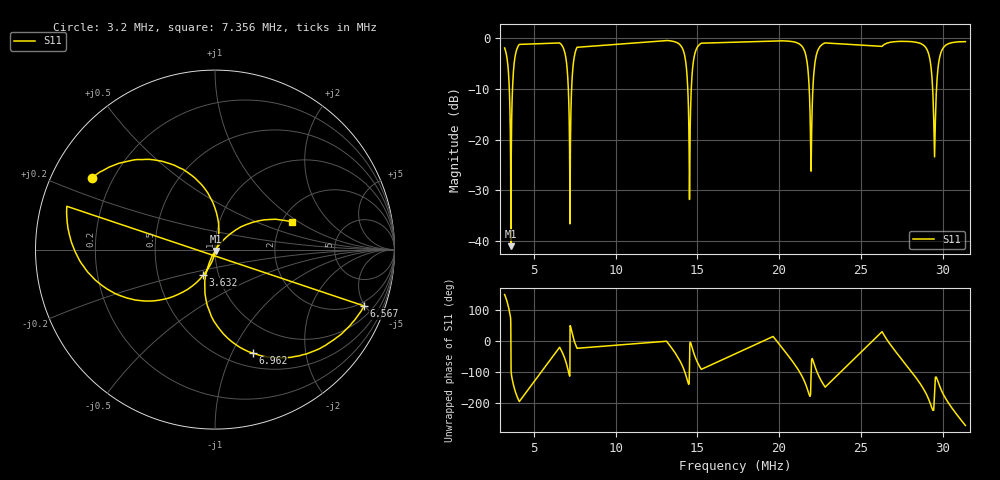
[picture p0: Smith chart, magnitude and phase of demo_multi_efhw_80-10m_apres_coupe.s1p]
! EFHW 80-10 m apres raccourcissement de 1 %
! Fichier de demonstration simule - Analyseur ROS NanoVNA F4CVQ
# HZ S RI R 50
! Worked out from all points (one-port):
!   505 points, 3.2 MHz to 31.4 MHz, reference 50 ohm
!   lowest |S11| = -40.9 dB at 3.587 MHz (marker M1), VSWR 1.02, Z = 50.5 - j0.738 ohm
!   |S11| at or under -10 dB: 7.099 MHz to 7.301 MHz (202.2 kHz wide, 2.81 % of centre); 14.41 MHz to 14.62 MHz (214.7 kHz wide, 1.48 % of centre); 29.39 MHz to 29.63 MHz (239.1 kHz wide, 0.81 % of centre) (the widest 3 of 5)
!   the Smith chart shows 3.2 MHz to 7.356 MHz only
!   S11 on the Smith chart (normalised r, x): 3.2 MHz: 0.12, +0.27; 3.632 MHz: 0.84, -0.25; 6.567 MHz: 1.65, -4.95; 6.962 MHz: 0.65, -1.21; 7.356 MHz: 2.27, +0.88
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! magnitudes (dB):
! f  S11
! 3.2 MHz  -2.0
! 3.479 MHz  -9.3
! 3.587 MHz  -40.9
! 3.632 MHz  -16.1
! 4.1 MHz  -1.3
! 6.567 MHz  -1.0
! 6.727 MHz  -1.6
! 6.962 MHz  -4.2
! 7.121 MHz  -12.0
! 7.196 MHz  -36.6
! 7.356 MHz  -6.8
! 13.11 MHz  -0.5
! 13.79 MHz  -1.0
! 14.3 MHz  -5.2
! 14.52 MHz  -31.8
! 14.69 MHz  -6.7
! 15.05 MHz  -1.6
! 19.63 MHz  -0.6
! 20.84 MHz  -0.8
! 21.64 MHz  -3.5
! 21.96 MHz  -26.2
! 22.5 MHz  -1.7
! 26.3 MHz  -1.7
! 27.88 MHz  -0.7
! 29.11 MHz  -2.7
! 29.51 MHz  -23.4
! 29.97 MHz  -2.4
! 31.4 MHz  -0.8
